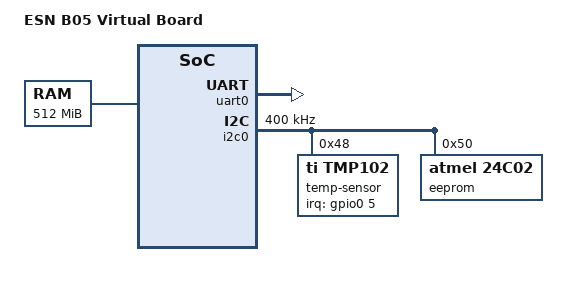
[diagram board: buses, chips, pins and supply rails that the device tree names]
// ELX-B05 virtual board "esn,b05-board" — dtc -I dts -O dtb -o board.dtb board.dts
/dts-v1/;

/memreserve/ 0x5ff00000 0x100000;	/* 펌웨어용 1 MiB: 커널이 건드리지 않음 */

/ {
	model = "ESN B05 Virtual Board";
	compatible = "esn,b05-board";
	#address-cells = <2>;
	#size-cells = <2>;
	interrupt-parent = <&gic>;

	chosen {
		bootargs = "console=ttyAMA0,115200 root=/dev/vda rw";
		stdout-path = "serial0:115200n8";
	};

	aliases {
		serial0 = &uart0;
		i2c0 = &i2c0;
	};

	cpus {
		#address-cells = <1>;
		#size-cells = <0>;

		cpu@0 {
			device_type = "cpu";
			compatible = "arm,cortex-a53";
			reg = <0>;
		};

		cpu@1 {
			device_type = "cpu";
			compatible = "arm,cortex-a53";
			reg = <1>;
		};
	};

	memory@40000000 {
		device_type = "memory";
		reg = <0x0 0x40000000 0x0 0x20000000>;	/* 512 MiB */
	};

	gic: interrupt-controller@8000000 {
		compatible = "arm,gic-400";
		reg = <0x0 0x08000000 0x0 0x1000>,
		      <0x0 0x08010000 0x0 0x2000>;
		#interrupt-cells = <3>;
		interrupt-controller;
	};

	soc@0 {
		compatible = "simple-bus";
		#address-cells = <1>;
		#size-cells = <1>;
		ranges = <0x0 0x0 0x0 0x10000000>;

		uart0: serial@9000000 {
			compatible = "arm,pl011", "arm,primecell";
			reg = <0x09000000 0x1000>;
			interrupts = <0 1 4>;	/* SPI 1, level-high */
			status = "okay";
		};

		gpio0: gpio@9030000 {
			compatible = "arm,pl061", "arm,primecell";
			reg = <0x09030000 0x1000>;
			interrupts = <0 7 4>;
			gpio-controller;
			#gpio-cells = <2>;
			interrupt-controller;
			#interrupt-cells = <2>;
		};

		i2c0: i2c@9040000 {
			compatible = "esn,b05-i2c";
			reg = <0x09040000 0x1000>;
			interrupts = <0 8 4>;
			clock-frequency = <400000>;
			#address-cells = <1>;
			#size-cells = <0>;

			temp-sensor@48 {
				compatible = "ti,tmp102";
				reg = <0x48>;
				interrupt-parent = <&gpio0>;
				interrupts = <5 2>;	/* GPIO 5, IRQ_TYPE_EDGE_FALLING */
			};

			eeprom@50 {
				compatible = "atmel,24c02";
				reg = <0x50>;
				pagesize = <8>;
			};
		};

		ethernet@9050000 {
			compatible = "esn,b05-eth";
			reg = <0x09050000 0x1000>;
			local-mac-address = [02 00 5e 10 00 01];
			status = "disabled";
		};
	};
};
